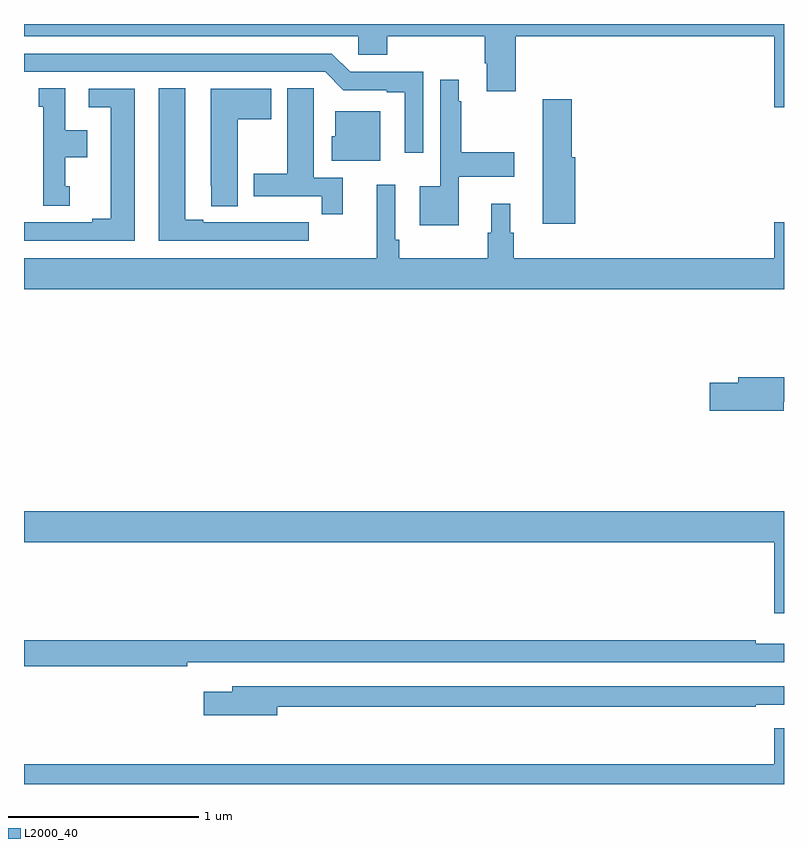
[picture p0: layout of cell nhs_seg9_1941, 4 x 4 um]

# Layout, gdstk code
import gdstk
lib = gdstk.Library(unit=1e-6, precision=1e-09)
def P(c, l, *ps):  # polygons
    for p in ps: c.add(gdstk.Polygon(p, *l))
L2000_40 = (2000, 40)

nhs_seg9_1941 = lib.new_cell('nhs_seg9_1941')
P(nhs_seg9_1941, L2000_40, [(225,1180.5),(221,1180.5),(221,1180.436),(222.759,1180.436),(222.759,1180.338),(222.911,1180.338),(222.911,1180.436),(223.424,1180.436),(223.424,1180.294),(223.436,1180.294),(223.436,1180.146),(223.589,1180.146),(223.589,1180.436),(224.948,1180.436),(224.948,1180.062),(225,1180.062)],
  [(223.101,1180.248),(222.717,1180.248),(222.621,1180.344),(221,1180.344),(221,1180.248),(222.585,1180.248),(222.681,1180.152),(222.908,1180.152),(222.908,1180.14),(223.004,1180.14),(223.004,1179.822),(223.101,1179.822)],
  [(223.288,1179.695),(223.579,1179.695),(223.579,1179.825),(223.3,1179.825),(223.3,1180.094),(223.288,1180.094),(223.288,1180.207),(223.191,1180.207),(223.191,1179.646),(223.082,1179.646),(223.082,1179.44),(223.288,1179.44)],
  [(221.242,1179.645),(221.218,1179.645),(221.218,1179.8),(221.332,1179.8),(221.332,1179.94),(221.218,1179.94),(221.218,1180.163),(221.078,1180.163),(221.078,1180.065),(221.102,1180.065),(221.102,1179.543),(221.242,1179.543)],
  [(222.677,1179.69),(222.526,1179.69),(222.526,1180.052),(222.525,1180.052),(222.525,1180.163),(222.386,1180.163),(222.386,1179.711),(222.209,1179.711),(222.209,1179.594),(222.568,1179.594),(222.568,1179.498),(222.677,1179.498)],
  [(222.499,1179.456),(222.386,1179.456),(222.386,1179.457),(222.22,1179.457),(222.22,1179.456),(221.944,1179.456),(221.944,1179.471),(221.848,1179.471),(221.848,1180.163),(221.708,1180.163),(221.708,1179.36),(222.499,1179.36)],
  [(222.124,1180),(222.301,1180),(222.301,1180.159),(221.984,1180.159),(221.984,1179.649),(221.985,1179.649),(221.985,1179.541),(222.124,1179.541)],
  [(221.584,1180.158),(221.34,1180.158),(221.34,1180.062),(221.456,1180.062),(221.456,1179.476),(221.36,1179.476),(221.36,1179.456),(221,1179.456),(221,1179.36),(221.584,1179.36)],
  [(223.901,1179.798),(223.883,1179.798),(223.883,1180.105),(223.729,1180.105),(223.729,1179.913),(223.73,1179.913),(223.73,1179.45),(223.901,1179.45)],
  [(222.874,1180.042),(222.638,1180.042),(222.638,1179.909),(222.62,1179.909),(222.62,1179.779),(222.874,1179.779)],
  [(225,1179.457),(224.948,1179.457),(224.948,1179.268),(223.577,1179.268),(223.577,1179.402),(223.558,1179.402),(223.558,1179.553),(223.46,1179.553),(223.46,1179.402),(223.441,1179.402),(223.441,1179.268),(222.974,1179.268),(222.974,1179.364),(222.954,1179.364),(222.954,1179.655),(222.857,1179.655),(222.857,1179.268),(221,1179.268),(221,1179.104),(225,1179.104)],
  [(224.998,1178.512),(225,1178.512),(225,1178.641),(224.759,1178.641),(224.759,1178.612),(224.61,1178.612),(224.61,1178.465),(224.998,1178.465)],
  [(225,1177.936),(221,1177.936),(221,1177.772),(224.948,1177.772),(224.948,1177.398),(225,1177.398)],
  [(221.858,1177.14),(225,1177.14),(225,1177.237),(224.852,1177.237),(224.852,1177.256),(221,1177.256),(221,1177.12),(221.858,1177.12)],
  [(222.334,1176.906),(224.852,1176.906),(224.852,1176.918),(225,1176.918),(225,1177.014),(222.095,1177.014),(222.095,1176.985),(221.946,1176.985),(221.946,1176.863),(222.334,1176.863)],
  [(225,1176.793),(224.948,1176.793),(224.948,1176.604),(221,1176.604),(221,1176.5),(225,1176.5)])

lib.write_gds('nhs_seg9_1941.gds')
